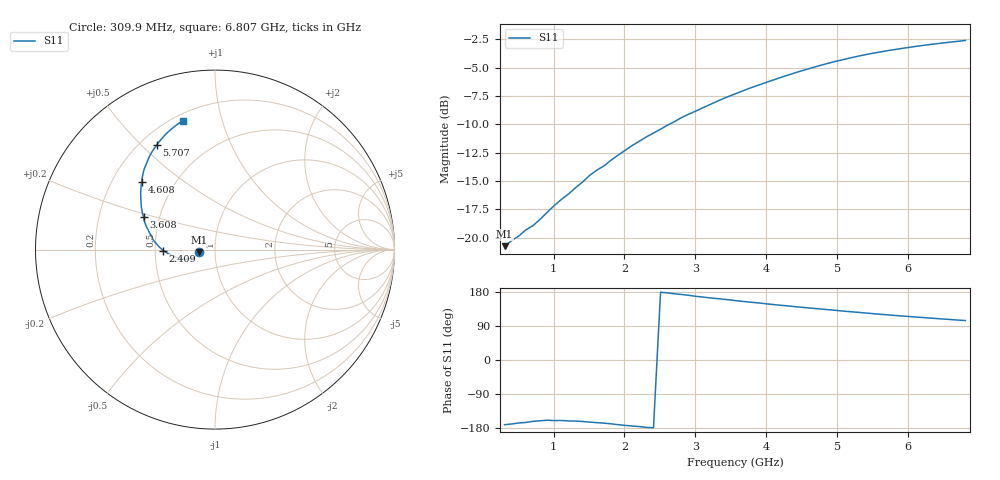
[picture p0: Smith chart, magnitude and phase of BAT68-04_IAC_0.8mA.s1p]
! Infineon Technologies  Discrete & RF Semiconductors
! BAT68-04
! IAC = 0.8 mA
! One-Port S-Parameters
# Hz  S  MA  R  50
!f  S11
!Hz  Mag  Ang
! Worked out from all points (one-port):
!   66 points, 309.9 MHz to 6.807 GHz, reference 50 ohm
!   lowest |S11| = -20.8 dB at 309.9 MHz (marker M1), VSWR 1.20, Z = 41.7 - j1.24 ohm
!   |S11| at or under -10 dB: start of sweep to 2.632 GHz
!   S11 on the Smith chart (normalised r, x): 309.9 MHz: 0.83, -0.02; 2.409 GHz: 0.55, -0.01; 3.608 GHz: 0.41, +0.18; 4.608 GHz: 0.32, +0.36; 5.707 GHz: 0.26, +0.56; 6.807 GHz: 0.24, +0.75
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3.0985e8  0.09158 -170.7
4.098e8  0.09698 -168.9
5.0975e8  0.1015 -166.2
6.097e8  0.1081 -164.8
7.0965e8  0.1128 -161.8
9.0955e8  0.1291 -158.9
1.0095e9  0.1383 -159.8
1.2094e9  0.1554 -160.9
1.30935e9  0.1658 -161.2
1.50925e9  0.188 -164.0
1.70915e9  0.2069 -166.6
1.8091e9  0.2192 -168.4
2.009e9  0.2424 -172.6
2.4088e9  0.2891 -179.0
2.8086e9  0.3388 172.7
3.30835e9  0.3993 162.1
3.50825e9  0.4242 158.1
3.6082e9  0.4362 155.7
3.90805e9  0.4726 150.2
4.4078e9  0.5332 140.7
4.6077e9  0.5567 137.1
4.90755e9  0.5913 132.2
5.2074e9  0.6227 127.0
5.4073e9  0.642 123.9
5.70715e9  0.6676 119.1
6.007e9  0.6899 114.8
6.30685e9  0.7108 110.7
6.8066e9  0.7406 104.0
